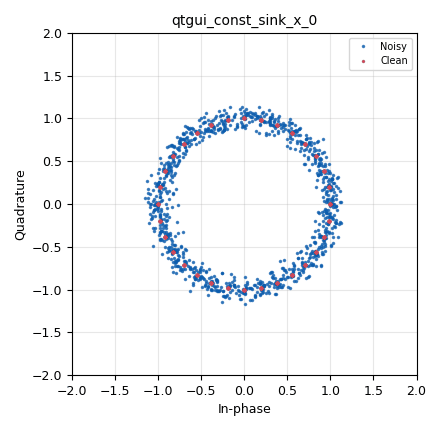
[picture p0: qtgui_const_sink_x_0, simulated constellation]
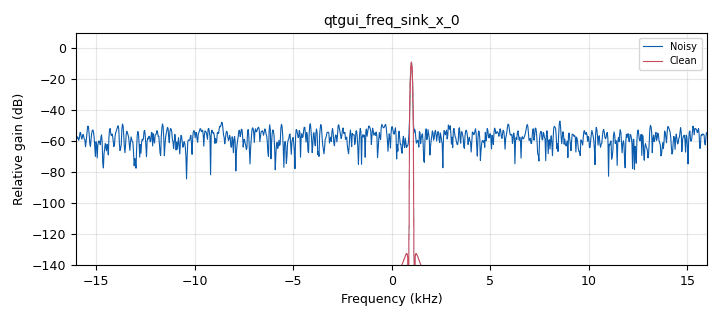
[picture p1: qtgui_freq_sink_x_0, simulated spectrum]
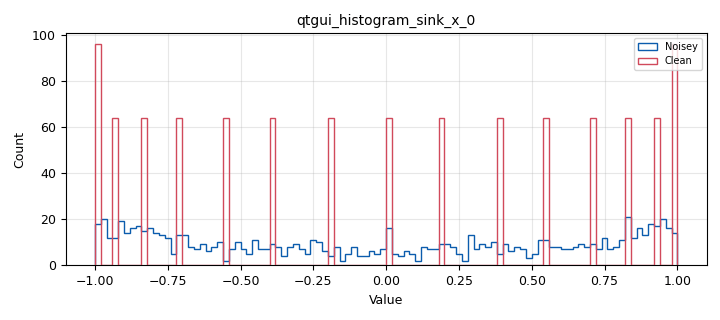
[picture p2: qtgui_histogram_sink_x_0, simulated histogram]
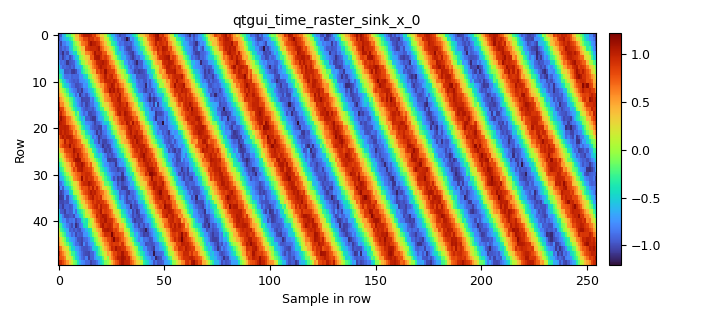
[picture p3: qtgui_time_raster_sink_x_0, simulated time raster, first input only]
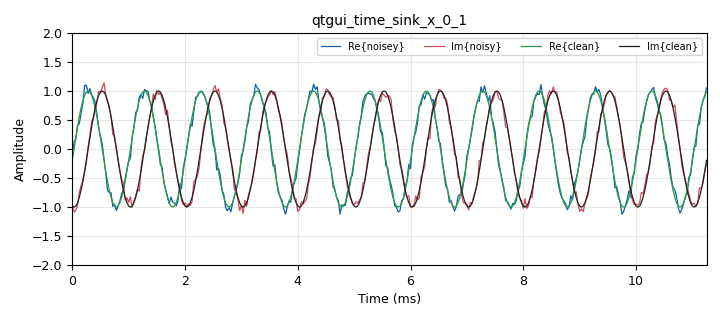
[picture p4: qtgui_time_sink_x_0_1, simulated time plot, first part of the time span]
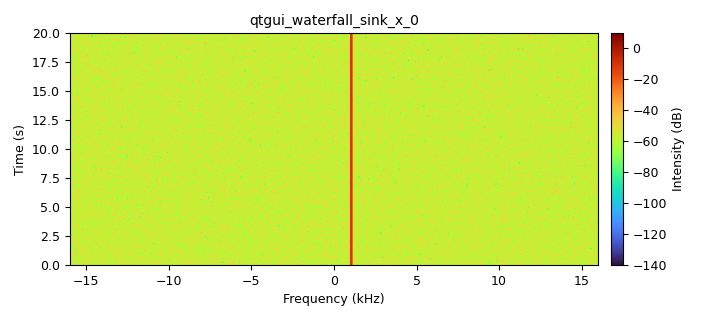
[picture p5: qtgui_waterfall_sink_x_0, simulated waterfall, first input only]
<?xml version='1.0' encoding='utf-8'?>
<?grc format='1' created='3.7.9'?>
<flow_graph>
<block>
<key>options</key>
<param><key>id</key><value>qtgui_multi_input</value></param>
<param><key>category</key><value>Custom</value></param>
<param><key>generate_options</key><value>qt_gui</value></param>
<param><key>run_options</key><value>run</value></param>
</block>
<block>
<key>variable</key>
<param><key>id</key><value>samp_rate</value></param>
<param><key>value</key><value>32000</value></param>
</block>
<block>
<key>analog_fastnoise_source_x</key>
<param><key>id</key><value>analog_fastnoise_source_x_0</value></param>
<param><key>amp</key><value>0.1</value></param>
<param><key>noise_type</key><value>analog.GR_GAUSSIAN</value></param>
<param><key>type</key><value>complex</value></param>
<param><key>seed</key><value>0</value></param>
<param><key>samples</key><value>8192</value></param>
</block>
<block>
<key>analog_sig_source_x</key>
<param><key>id</key><value>analog_sig_source_x_0</value></param>
<param><key>amp</key><value>1</value></param>
<param><key>freq</key><value>1000</value></param>
<param><key>offset</key><value>0</value></param>
<param><key>type</key><value>complex</value></param>
<param><key>samp_rate</key><value>samp_rate</value></param>
<param><key>waveform</key><value>analog.GR_COS_WAVE</value></param>
</block>
<block>
<key>blocks_add_xx</key>
<param><key>id</key><value>blocks_add_xx_0</value></param>
<param><key>type</key><value>complex</value></param>
</block>
<block>
<key>blocks_complex_to_real</key>
<param><key>id</key><value>blocks_complex_to_real_0</value></param>
</block>
<block>
<key>blocks_complex_to_real</key>
<param><key>id</key><value>blocks_complex_to_real_0_0</value></param>
</block>
<block>
<key>blocks_throttle</key>
<param><key>id</key><value>blocks_throttle_0</value></param>
<param><key>samples_per_second</key><value>50e3</value></param>
<param><key>type</key><value>complex</value></param>
</block>
<block>
<key>qtgui_const_sink_x</key>
<param><key>id</key><value>qtgui_const_sink_x_0</value></param>
<param><key>gui_hint</key><value>0,1,1,1</value></param>
<param><key>label1</key><value>Noisy</value></param>
<param><key>label2</key><value>Clean</value></param>
<param><key>nconnections</key><value>2</value></param>
<param><key>size</key><value>1024</value></param>
<param><key>type</key><value>complex</value></param>
</block>
<block>
<key>qtgui_freq_sink_x</key>
<param><key>id</key><value>qtgui_freq_sink_x_0</value></param>
<param><key>bw</key><value>samp_rate</value></param>
<param><key>fc</key><value>0</value></param>
<param><key>fftsize</key><value>1024</value></param>
<param><key>gui_hint</key><value>1,0,1,1</value></param>
<param><key>label1</key><value>Noisy</value></param>
<param><key>label2</key><value>Clean</value></param>
<param><key>nconnections</key><value>2</value></param>
<param><key>showports</key><value>True</value></param>
<param><key>type</key><value>complex</value></param>
<param><key>wintype</key><value>firdes.WIN_BLACKMAN_hARRIS</value></param>
</block>
<block>
<key>qtgui_histogram_sink_x</key>
<param><key>id</key><value>qtgui_histogram_sink_x_0</value></param>
<param><key>gui_hint</key><value>2,1,1,1</value></param>
<param><key>label1</key><value>Noisey</value></param>
<param><key>label2</key><value>Clean</value></param>
<param><key>xmax</key><value>1</value></param>
<param><key>xmin</key><value>-1</value></param>
<param><key>bins</key><value>100</value></param>
<param><key>nconnections</key><value>2</value></param>
<param><key>size</key><value>1024</value></param>
<param><key>type</key><value>float</value></param>
</block>
<block>
<key>qtgui_time_raster_sink_x</key>
<param><key>id</key><value>qtgui_time_raster_sink_x_0</value></param>
<param><key>gui_hint</key><value>2,0,1,1</value></param>
<param><key>color1</key><value>6</value></param>
<param><key>label1</key><value>Noisey</value></param>
<param><key>alpha2</key><value>0.1</value></param>
<param><key>color2</key><value>6</value></param>
<param><key>label2</key><value>Clean</value></param>
<param><key>ncols</key><value>255</value></param>
<param><key>nrows</key><value>50</value></param>
<param><key>nconnections</key><value>2</value></param>
<param><key>samp_rate</key><value>samp_rate</value></param>
<param><key>type</key><value>float</value></param>
<param><key>update_time</key><value>0.01</value></param>
</block>
<block>
<key>qtgui_time_sink_x</key>
<param><key>id</key><value>qtgui_time_sink_x_0_1</value></param>
<param><key>gui_hint</key><value>0,0,1,1</value></param>
<param><key>color1</key><value>"blue"</value></param>
<param><key>label1</key><value>Re{noisey}</value></param>
<param><key>color2</key><value>"red"</value></param>
<param><key>label2</key><value>Im{noisy}</value></param>
<param><key>color3</key><value>"green"</value></param>
<param><key>label3</key><value>Re{clean}</value></param>
<param><key>width3</key><value>2</value></param>
<param><key>color4</key><value>"black"</value></param>
<param><key>label4</key><value>Im{clean}</value></param>
<param><key>width4</key><value>2</value></param>
<param><key>name</key><value></value></param>
<param><key>nconnections</key><value>2</value></param>
<param><key>size</key><value>1000</value></param>
<param><key>srate</key><value>samp_rate</value></param>
<param><key>tr_delay</key><value>0.015</value></param>
<param><key>tr_level</key><value>.1</value></param>
<param><key>tr_mode</key><value>qtgui.TRIG_MODE_NORM</value></param>
<param><key>type</key><value>complex</value></param>
<param><key>ymax</key><value>2</value></param>
<param><key>ymin</key><value>-2</value></param>
</block>
<block>
<key>qtgui_waterfall_sink_x</key>
<param><key>id</key><value>qtgui_waterfall_sink_x_0</value></param>
<param><key>bw</key><value>samp_rate</value></param>
<param><key>fc</key><value>0</value></param>
<param><key>fftsize</key><value>1024</value></param>
<param><key>gui_hint</key><value>1,1,1,1</value></param>
<param><key>color1</key><value>5</value></param>
<param><key>label1</key><value>Noisey</value></param>
<param><key>alpha2</key><value>0.1</value></param>
<param><key>color2</key><value>5</value></param>
<param><key>label2</key><value>Clean</value></param>
<param><key>nconnections</key><value>2</value></param>
<param><key>showports</key><value>True</value></param>
<param><key>type</key><value>complex</value></param>
<param><key>wintype</key><value>firdes.WIN_BLACKMAN_hARRIS</value></param>
</block>
<connection><source_block_id>analog_fastnoise_source_x_0</source_block_id><sink_block_id>blocks_add_xx_0</sink_block_id><source_key>0</source_key><sink_key>1</sink_key></connection>
<connection><source_block_id>analog_sig_source_x_0</source_block_id><sink_block_id>blocks_throttle_0</sink_block_id><source_key>0</source_key><sink_key>0</sink_key></connection>
<connection><source_block_id>blocks_add_xx_0</source_block_id><sink_block_id>blocks_complex_to_real_0_0</sink_block_id><source_key>0</source_key><sink_key>0</sink_key></connection>
<connection><source_block_id>blocks_add_xx_0</source_block_id><sink_block_id>qtgui_const_sink_x_0</sink_block_id><source_key>0</source_key><sink_key>0</sink_key></connection>
<connection><source_block_id>blocks_add_xx_0</source_block_id><sink_block_id>qtgui_freq_sink_x_0</sink_block_id><source_key>0</source_key><sink_key>0</sink_key></connection>
<connection><source_block_id>blocks_add_xx_0</source_block_id><sink_block_id>qtgui_time_sink_x_0_1</sink_block_id><source_key>0</source_key><sink_key>0</sink_key></connection>
<connection><source_block_id>blocks_add_xx_0</source_block_id><sink_block_id>qtgui_waterfall_sink_x_0</sink_block_id><source_key>0</source_key><sink_key>0</sink_key></connection>
<connection><source_block_id>blocks_complex_to_real_0</source_block_id><sink_block_id>qtgui_histogram_sink_x_0</sink_block_id><source_key>0</source_key><sink_key>1</sink_key></connection>
<connection><source_block_id>blocks_complex_to_real_0</source_block_id><sink_block_id>qtgui_time_raster_sink_x_0</sink_block_id><source_key>0</source_key><sink_key>1</sink_key></connection>
<connection><source_block_id>blocks_complex_to_real_0_0</source_block_id><sink_block_id>qtgui_histogram_sink_x_0</sink_block_id><source_key>0</source_key><sink_key>0</sink_key></connection>
<connection><source_block_id>blocks_complex_to_real_0_0</source_block_id><sink_block_id>qtgui_time_raster_sink_x_0</sink_block_id><source_key>0</source_key><sink_key>0</sink_key></connection>
<connection><source_block_id>blocks_throttle_0</source_block_id><sink_block_id>blocks_add_xx_0</sink_block_id><source_key>0</source_key><sink_key>0</sink_key></connection>
<connection><source_block_id>blocks_throttle_0</source_block_id><sink_block_id>blocks_complex_to_real_0</sink_block_id><source_key>0</source_key><sink_key>0</sink_key></connection>
<connection><source_block_id>blocks_throttle_0</source_block_id><sink_block_id>qtgui_const_sink_x_0</sink_block_id><source_key>0</source_key><sink_key>1</sink_key></connection>
<connection><source_block_id>blocks_throttle_0</source_block_id><sink_block_id>qtgui_freq_sink_x_0</sink_block_id><source_key>0</source_key><sink_key>1</sink_key></connection>
<connection><source_block_id>blocks_throttle_0</source_block_id><sink_block_id>qtgui_time_sink_x_0_1</sink_block_id><source_key>0</source_key><sink_key>1</sink_key></connection>
<connection><source_block_id>blocks_throttle_0</source_block_id><sink_block_id>qtgui_waterfall_sink_x_0</sink_block_id><source_key>0</source_key><sink_key>1</sink_key></connection>
</flow_graph>
